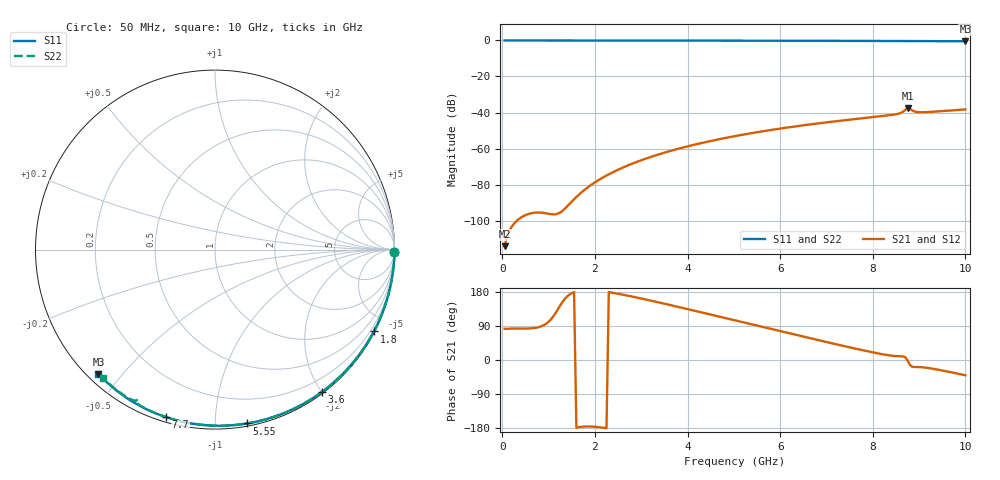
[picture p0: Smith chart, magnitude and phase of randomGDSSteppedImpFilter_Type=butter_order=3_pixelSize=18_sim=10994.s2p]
! freq	dB(S11)	phase(S11)	dB(S12)	phase(S12)
!  dB(S21)	phase(S21)	dB(S22)	phase(S22)
!S-par simulation data
#  GHz  S  DB  R 50
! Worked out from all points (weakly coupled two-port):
!   200 points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, 50 MHz to 10 GHz, reference 50 ohm
!   highest |S21| = -37.58 dB at 8.75 GHz (marker M1); lowest = -114.2 dB at 50 MHz (marker M2)
!   lowest |S11| = -0.4 dB at 10 GHz (marker M3), VSWR 38.72, Z = 1.53 - j21.6 ohm
!   |S11| at or under -10 dB: nowhere
!   |S22| runs from -0.5 to 0.0 dB; largest |S21 - S12| = 0
!   S11 on the Smith chart (normalised r, x): 50 MHz: open; 1.8 GHz: 0.04, -4.13; 3.6 GHz: 0.02, -1.99; 5.55 GHz: 0.02, -1.20; 7.7 GHz: 0.02, -0.75; 10 GHz: 0.03, -0.43
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0.05  -0.00 -0.8  -114.16 82.3  -114.16 82.3  -0.00 -0.8
0.9  -0.02 -13.7  -95.74 92.3  -95.74 92.3  -0.02 -13.6
1.75  -0.03 -26.5  -83.44 -175.8  -83.44 -175.8  -0.03 -26.1
1.8  -0.03 -27.2  -82.41 -175.5  -82.41 -175.5  -0.03 -26.9
1.95  -0.04 -29.5  -79.62 -175.8  -79.62 -175.8  -0.04 -29.1
2.25  -0.04 -33.9  -74.95 -180.0  -74.95 -180.0  -0.04 -33.4
2.55  -0.05 -38.3  -71.14 173.7  -71.14 173.7  -0.05 -37.7
2.95  -0.06 -44.0  -66.95 163.7  -66.95 163.7  -0.06 -43.4
3.4  -0.07 -50.4  -63.05 151.4  -63.05 151.4  -0.07 -49.8
3.6  -0.07 -53.2  -61.52 145.8  -61.52 145.8  -0.07 -52.5
4.3  -0.09 -62.9  -56.93 125.7  -56.93 125.7  -0.09 -62.1
5.05  -0.11 -73.0  -52.96 103.8  -52.96 103.8  -0.11 -72.0
5.55  -0.13 -79.5  -50.71 89.1  -50.71 89.1  -0.13 -78.5
6.7  -0.18 -94.1  -46.41 55.9  -46.41 55.9  -0.18 -92.9
7.7  -0.24 -106.3  -43.40 28.0  -43.40 28.0  -0.24 -104.9
8.35  -0.29 -114.0  -41.58 12.3  -41.58 12.3  -0.28 -112.6
8.6  -0.31 -116.9  -40.29 9.9  -40.29 9.9  -0.32 -115.8
8.75  -0.32 -118.6  -37.58 -0.9  -37.58 -0.9  -0.49 -117.5
8.8  -0.32 -119.3  -37.82 -12.6  -37.82 -12.6  -0.50 -117.4
8.9  -0.33 -120.4  -39.40 -18.5  -39.40 -18.5  -0.41 -118.2
9.05  -0.35 -122.2  -39.84 -19.0  -39.84 -19.0  -0.38 -120.1
10  -0.45 -133.2  -38.28 -40.4  -38.28 -40.4  -0.45 -131.0
